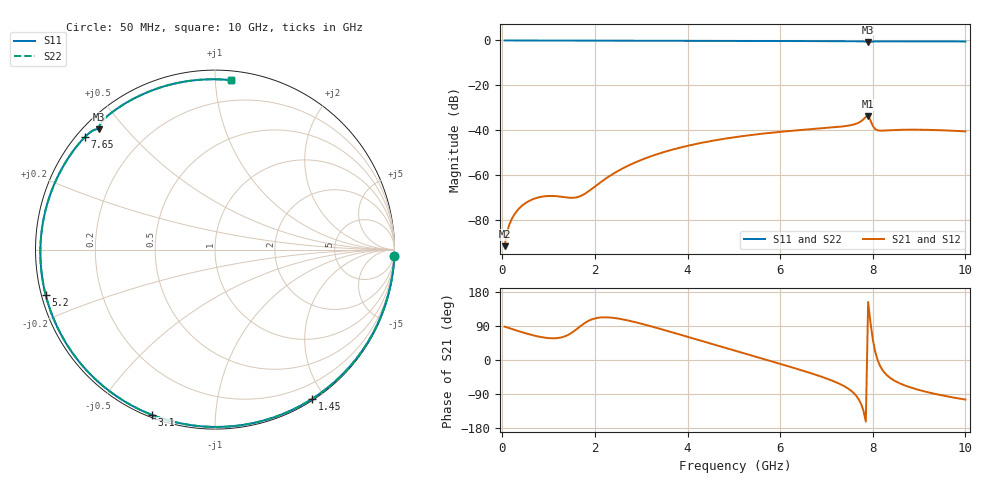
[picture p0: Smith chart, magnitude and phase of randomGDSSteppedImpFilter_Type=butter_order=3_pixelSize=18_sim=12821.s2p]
! freq	dB(S11)	phase(S11)	dB(S12)	phase(S12)
!  dB(S21)	phase(S21)	dB(S22)	phase(S22)
!S-par simulation data
#  GHz  S  DB  R 50
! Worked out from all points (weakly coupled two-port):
!   200 points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, 50 MHz to 10 GHz, reference 50 ohm
!   highest |S21| = -33.75 dB at 7.9 GHz (marker M1); lowest = -91.5 dB at 50 MHz (marker M2)
!   lowest |S11| = -0.6 dB at 7.9 GHz (marker M3), VSWR 27.45, Z = 2.15 + j21.2 ohm
!   |S11| at or under -10 dB: nowhere
!   |S22| runs from -0.6 to 0.0 dB; largest |S21 - S12| = 0
!   S11 on the Smith chart (normalised r, x): 50 MHz: 0, -56; 1.45 GHz: 0.02, -1.84; 3.1 GHz: 0.01, -0.69; 5.2 GHz: 0.01, -0.13; 7.65 GHz: 0.02, +0.37; 10 GHz: 0.06, +1.10
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0.05  -0.00 -2.1  -91.50 88.0  -91.50 88.0  -0.00 -2.1
0.2  -0.01 -8.2  -79.59 82.0  -79.59 82.0  -0.01 -8.2
0.3  -0.02 -12.2  -76.24 78.1  -76.24 78.1  -0.02 -12.2
0.4  -0.02 -16.3  -73.98 74.3  -73.98 74.3  -0.02 -16.3
0.7  -0.04 -28.3  -70.30 64.2  -70.30 64.2  -0.04 -28.3
1  -0.05 -40.0  -69.16 57.8  -69.16 57.8  -0.05 -40.0
1.45  -0.07 -57.0  -69.95 68.2  -69.95 68.2  -0.07 -57.0
1.75  -0.08 -67.8  -68.59 95.0  -68.59 95.0  -0.08 -67.8
2.45  -0.11 -91.2  -58.63 110.4  -58.63 110.4  -0.11 -91.2
3.1  -0.13 -111.0  -52.34 92.6  -52.34 92.6  -0.13 -111.0
3.4  -0.13 -119.5  -50.21 82.5  -50.21 82.5  -0.13 -119.5
4.2  -0.16 -140.8  -45.97 54.0  -45.97 54.0  -0.16 -140.8
5.05  -0.20 -161.5  -42.94 23.6  -42.94 23.6  -0.20 -161.5
5.2  -0.20 -165.0  -42.52 18.3  -42.52 18.3  -0.20 -165.0
5.95  -0.24 177.8  -40.75 -8.4  -40.75 -8.4  -0.24 177.8
6.7  -0.28 160.9  -39.41 -36.2  -39.41 -36.2  -0.28 160.9
7.65  -0.36 139.3  -36.97 -95.5  -36.97 -95.5  -0.37 139.3
7.9  -0.63 133.9  -33.75 153.0  -33.75 153.0  -0.63 133.9
8.05  -0.43 131.5  -39.39 23.4  -39.39 23.4  -0.43 131.5
8.35  -0.39 124.2  -39.94 -44.9  -39.94 -44.9  -0.39 124.2
9.2  -0.43 104.0  -39.76 -85.4  -39.76 -85.4  -0.43 104.0
10  -0.46 84.6  -40.44 -104.5  -40.44 -104.5  -0.46 84.5
